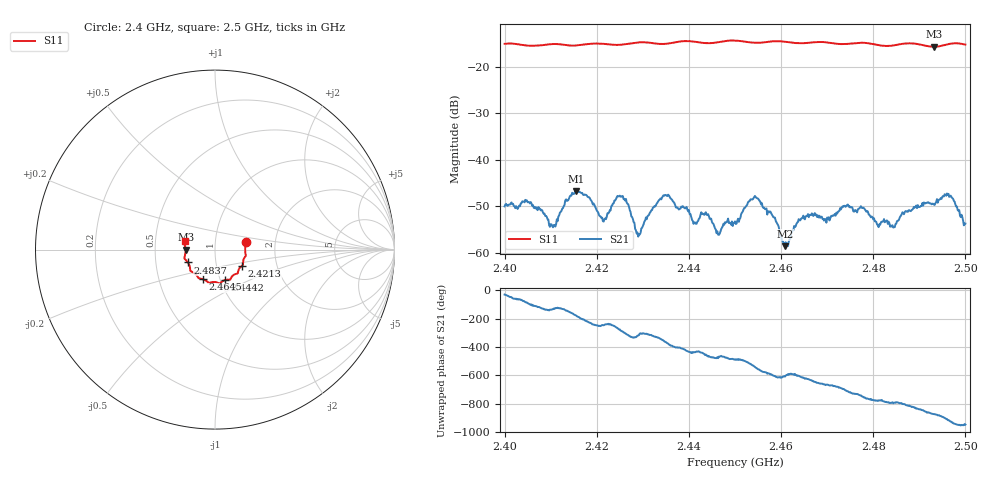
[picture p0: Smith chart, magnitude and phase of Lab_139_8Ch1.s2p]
# Hz S RI R 50
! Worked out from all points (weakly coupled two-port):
!   601 points, 2.4 GHz to 2.5 GHz, reference 50 ohm
!   highest |S21| = -46.79 dB at 2.4155 GHz (marker M1); lowest = -58.5 dB at 2.4608 GHz (marker M2)
!   lowest |S11| = -15.7 dB at 2.4932 GHz (marker M3), VSWR 1.39, Z = 35.9 - j0.0594 ohm
!   |S11| at or under -10 dB: start of sweep to end of sweep
!   S12 and S22 are empty: the file has one direction only
!   S11 on the Smith chart (normalised r, x): 2.4 GHz: 1.41, +0.12; 2.4213 GHz: 1.33, -0.25; 2.4442 GHz: 1.05, -0.37; 2.4645 GHz: 0.83, -0.29; 2.4837 GHz: 0.73, -0.11; 2.5 GHz: 0.71, +0.07
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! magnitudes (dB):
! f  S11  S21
! 2.4 GHz  -15.1  -50.0
! 2.405 GHz  -15.5  -49.1
! 2.4107 GHz  -15.1  -54.0
! 2.4155 GHz  -15.4  -46.8
! 2.4167 GHz  -15.3  -47.1
! 2.4213 GHz  -15.1  -53.2
! 2.4252 GHz  -15.3  -47.9
! 2.429 GHz  -14.8  -56.5
! 2.4333 GHz  -15.1  -48.9
! 2.4442 GHz  -15.0  -51.7
! 2.4463 GHz  -14.8  -56.1
! 2.45 GHz  -14.4  -53.2
! 2.4547 GHz  -14.9  -48.1
! 2.4608 GHz  -14.6  -58.5
! 2.4645 GHz  -15.0  -52.6
! 2.4667 GHz  -14.8  -51.5
! 2.4743 GHz  -15.1  -49.7
! 2.4833 GHz  -15.6  -53.3
! 2.4837 GHz  -15.5  -54.4
! 2.4932 GHz  -15.7  -49.6
! 2.4965 GHz  -15.1  -48.0
! 2.5 GHz  -15.3  -53.7
